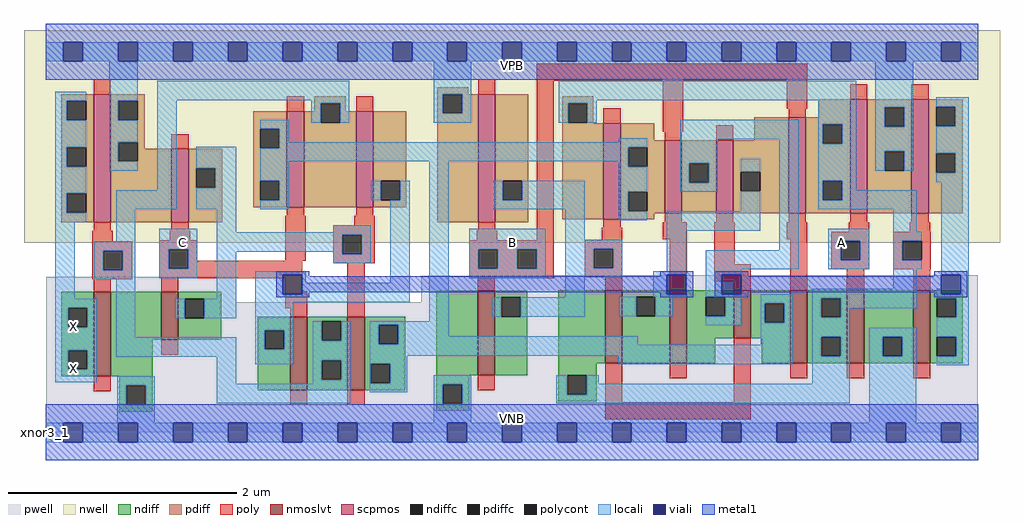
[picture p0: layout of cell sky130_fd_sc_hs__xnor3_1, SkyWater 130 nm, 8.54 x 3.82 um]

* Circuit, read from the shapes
.subckt sky130_fd_sc_hs__xnor3_1 A B C VGND VNB VPB VPWR X
XM1 VGND n1 X VNB sky130_fd_pr__nfet_01v8_lvt w=0.74 l=0.15
XM2 n2 C VGND VNB sky130_fd_pr__nfet_01v8_lvt w=0.42 l=0.15
XM3 n1 C n3 VNB sky130_fd_pr__nfet_01v8_lvt w=0.64 l=0.15
XM4 n4 n2 n1 VNB sky130_fd_pr__nfet_01v8_lvt w=0.64 l=0.15
XM5 n5 B VGND VNB sky130_fd_pr__nfet_01v8_lvt w=0.74 l=0.15
XM6 n3 n5 n6 VNB sky130_fd_pr__nfet_01v8_lvt w=0.64 l=0.15
XM7 n7 B n3 VNB sky130_fd_pr__nfet_01v8_lvt w=0.64 l=0.15
XM8 n4 n5 n7 VNB sky130_fd_pr__nfet_01v8_lvt w=0.42 l=0.15
XM9 n6 B n4 VNB sky130_fd_pr__nfet_01v8_lvt w=0.64 l=0.15
XM10 VGND A n6 VNB sky130_fd_pr__nfet_01v8_lvt w=0.64 l=0.15
XM11 n7 n6 VGND VNB sky130_fd_pr__nfet_01v8_lvt w=0.64 l=0.15
XM12 VPWR n1 X VPB sky130_fd_pr__pfet_01v8 w=1.12 l=0.15
XM13 n2 C VPWR VPB sky130_fd_pr__pfet_01v8 w=0.64 l=0.15
XM14 n1 C n4 VPB sky130_fd_pr__pfet_01v8 w=0.84 l=0.15
XM15 n3 n2 n1 VPB sky130_fd_pr__pfet_01v8 w=0.84 l=0.15
XM16 n5 B VPWR VPB sky130_fd_pr__pfet_01v8 w=1.12 l=0.15
XM17 n4 n5 n6 VPB sky130_fd_pr__pfet_01v8 w=0.84 l=0.15
XM18 n7 B n4 VPB sky130_fd_pr__pfet_01v8 w=0.64 l=0.15
XM19 n3 n5 n7 VPB sky130_fd_pr__pfet_01v8 w=0.64 l=0.15
XM20 n6 B n3 VPB sky130_fd_pr__pfet_01v8 w=0.84 l=0.15
XM21 VPWR A n6 VPB sky130_fd_pr__pfet_01v8 w=1 l=0.15
XM22 n7 n6 VPWR VPB sky130_fd_pr__pfet_01v8 w=1 l=0.15
.ends

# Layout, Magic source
magic
tech sky130A
magscale 1 2
<< nwell >>
rect -38 332 1670 704
<< pwell >>
rect 871 274 1631 275
rect 1 228 333 272
rect 657 228 1631 274
rect 1 49 1631 228
rect 0 0 1632 49
<< scpmos >>
rect 84 368 114 592
rect 220 368 250 496
rect 422 394 452 562
rect 543 394 573 562
rect 757 368 787 592
rect 976 373 1006 541
rect 1083 383 1113 511
rect 1173 383 1203 511
rect 1300 383 1330 551
rect 1408 383 1438 583
rect 1515 383 1545 583
<< nmoslvt >>
rect 84 98 114 246
rect 202 162 232 246
rect 428 74 458 202
rect 528 74 558 202
rect 756 100 786 248
rect 979 121 1009 249
rect 1092 121 1122 249
rect 1204 165 1234 249
rect 1303 121 1333 249
rect 1402 121 1432 249
rect 1518 121 1548 249
<< ndiff >>
rect 27 218 84 246
rect 27 184 39 218
rect 73 184 84 218
rect 27 144 84 184
rect 27 110 39 144
rect 73 110 84 144
rect 27 98 84 110
rect 114 162 202 246
rect 232 234 307 246
rect 232 200 243 234
rect 277 200 307 234
rect 232 162 307 200
rect 371 179 428 202
rect 114 98 187 162
rect 371 145 383 179
rect 417 145 428 179
rect 129 82 187 98
rect 129 48 141 82
rect 175 48 187 82
rect 371 74 428 145
rect 458 194 528 202
rect 458 160 483 194
rect 517 160 528 194
rect 458 126 528 160
rect 458 92 483 126
rect 517 92 528 126
rect 458 74 528 92
rect 558 188 629 202
rect 558 154 583 188
rect 617 154 629 188
rect 558 120 629 154
rect 558 86 569 120
rect 603 86 629 120
rect 558 74 629 86
rect 683 100 756 248
rect 786 236 843 248
rect 786 202 797 236
rect 831 202 843 236
rect 786 100 843 202
rect 897 121 979 249
rect 1009 237 1092 249
rect 1009 203 1033 237
rect 1067 203 1092 237
rect 1009 121 1092 203
rect 1122 237 1204 249
rect 1122 203 1155 237
rect 1189 203 1204 237
rect 1122 165 1204 203
rect 1234 226 1303 249
rect 1234 192 1258 226
rect 1292 192 1303 226
rect 1234 165 1303 192
rect 1122 121 1172 165
rect 897 100 964 121
rect 683 84 741 100
rect 683 50 695 84
rect 729 50 741 84
rect 897 66 913 100
rect 947 66 964 100
rect 897 54 964 66
rect 129 36 187 48
rect 683 38 741 50
rect 1253 121 1303 165
rect 1333 235 1402 249
rect 1333 201 1357 235
rect 1391 201 1402 235
rect 1333 167 1402 201
rect 1333 133 1357 167
rect 1391 133 1402 167
rect 1333 121 1402 133
rect 1432 167 1518 249
rect 1432 133 1465 167
rect 1499 133 1518 167
rect 1432 121 1518 133
rect 1548 235 1605 249
rect 1548 201 1559 235
rect 1593 201 1605 235
rect 1548 167 1605 201
rect 1548 133 1559 167
rect 1593 133 1605 167
rect 1548 121 1605 133
<< pdiff >>
rect 685 592 739 604
rect 27 580 84 592
rect 27 546 37 580
rect 71 546 84 580
rect 27 499 84 546
rect 27 465 37 499
rect 71 465 84 499
rect 27 418 84 465
rect 27 384 37 418
rect 71 384 84 418
rect 27 368 84 384
rect 114 580 173 592
rect 114 546 127 580
rect 161 546 173 580
rect 470 576 525 588
rect 470 562 481 576
rect 114 508 173 546
rect 363 531 422 562
rect 114 474 127 508
rect 161 496 173 508
rect 363 497 375 531
rect 409 497 422 531
rect 161 474 220 496
rect 114 368 220 474
rect 250 462 309 496
rect 250 428 263 462
rect 297 428 309 462
rect 250 368 309 428
rect 363 440 422 497
rect 363 406 375 440
rect 409 406 422 440
rect 363 394 422 406
rect 452 542 481 562
rect 515 562 525 576
rect 515 542 543 562
rect 452 394 543 542
rect 573 440 631 562
rect 573 406 586 440
rect 620 406 631 440
rect 573 394 631 406
rect 685 558 695 592
rect 729 558 757 592
rect 685 368 757 558
rect 787 440 844 592
rect 787 406 800 440
rect 834 406 844 440
rect 787 368 844 406
rect 904 576 958 588
rect 904 542 914 576
rect 948 542 958 576
rect 904 541 958 542
rect 904 373 976 541
rect 1006 511 1065 541
rect 1353 551 1408 583
rect 1240 511 1300 551
rect 1006 499 1083 511
rect 1006 465 1019 499
rect 1053 465 1083 499
rect 1006 421 1083 465
rect 1006 387 1019 421
rect 1053 387 1083 421
rect 1006 383 1083 387
rect 1113 471 1173 511
rect 1113 437 1126 471
rect 1160 437 1173 471
rect 1113 383 1173 437
rect 1203 456 1300 511
rect 1203 422 1216 456
rect 1250 422 1300 456
rect 1203 383 1300 422
rect 1330 539 1408 551
rect 1330 505 1360 539
rect 1394 505 1408 539
rect 1330 440 1408 505
rect 1330 406 1360 440
rect 1394 406 1408 440
rect 1330 383 1408 406
rect 1438 569 1515 583
rect 1438 535 1468 569
rect 1502 535 1515 569
rect 1438 492 1515 535
rect 1438 458 1468 492
rect 1502 458 1515 492
rect 1438 383 1515 458
rect 1545 570 1605 583
rect 1545 536 1558 570
rect 1592 536 1605 570
rect 1545 488 1605 536
rect 1545 454 1558 488
rect 1592 454 1605 488
rect 1545 383 1605 454
rect 1006 373 1065 383
<< ndiffc >>
rect 39 184 73 218
rect 39 110 73 144
rect 243 200 277 234
rect 383 145 417 179
rect 141 48 175 82
rect 483 160 517 194
rect 483 92 517 126
rect 583 154 617 188
rect 569 86 603 120
rect 797 202 831 236
rect 1033 203 1067 237
rect 1155 203 1189 237
rect 1258 192 1292 226
rect 695 50 729 84
rect 913 66 947 100
rect 1357 201 1391 235
rect 1357 133 1391 167
rect 1465 133 1499 167
rect 1559 201 1593 235
rect 1559 133 1593 167
<< pdiffc >>
rect 37 546 71 580
rect 37 465 71 499
rect 37 384 71 418
rect 127 546 161 580
rect 127 474 161 508
rect 375 497 409 531
rect 263 428 297 462
rect 375 406 409 440
rect 481 542 515 576
rect 586 406 620 440
rect 695 558 729 592
rect 800 406 834 440
rect 914 542 948 576
rect 1019 465 1053 499
rect 1019 387 1053 421
rect 1126 437 1160 471
rect 1216 422 1250 456
rect 1360 505 1394 539
rect 1360 406 1394 440
rect 1468 535 1502 569
rect 1468 458 1502 492
rect 1558 536 1592 570
rect 1558 454 1592 488
<< poly >>
rect 84 592 114 618
rect 757 592 787 618
rect 859 615 1333 645
rect 422 562 452 588
rect 220 496 250 522
rect 543 562 573 588
rect 422 379 452 394
rect 543 379 573 394
rect 84 353 114 368
rect 220 353 250 368
rect 81 334 117 353
rect 217 336 253 353
rect 81 318 151 334
rect 81 284 101 318
rect 135 284 151 318
rect 81 268 151 284
rect 199 320 265 336
rect 199 286 215 320
rect 249 300 265 320
rect 419 300 455 379
rect 540 362 576 379
rect 503 346 576 362
rect 757 353 787 368
rect 503 312 519 346
rect 553 312 576 346
rect 754 336 790 353
rect 859 336 889 615
rect 976 541 1006 567
rect 1080 526 1116 615
rect 1297 566 1333 615
rect 1408 583 1438 609
rect 1515 583 1545 609
rect 1300 551 1330 566
rect 1083 511 1113 526
rect 1173 511 1203 537
rect 976 358 1006 373
rect 1083 368 1113 383
rect 1173 368 1203 383
rect 1300 368 1330 383
rect 1408 368 1438 383
rect 1515 368 1545 383
rect 973 337 1009 358
rect 1080 338 1122 368
rect 249 286 449 300
rect 503 296 576 312
rect 741 320 889 336
rect 199 270 449 286
rect 84 246 114 268
rect 202 246 232 270
rect 419 247 449 270
rect 419 217 458 247
rect 428 202 458 217
rect 528 202 558 296
rect 741 286 757 320
rect 791 286 825 320
rect 859 286 889 320
rect 741 270 889 286
rect 943 321 1009 337
rect 943 287 959 321
rect 993 287 1009 321
rect 943 271 1009 287
rect 756 248 786 270
rect 979 249 1009 271
rect 1092 249 1122 338
rect 1170 294 1206 368
rect 1297 338 1333 368
rect 1405 351 1441 368
rect 1512 351 1548 368
rect 1170 264 1234 294
rect 1204 249 1234 264
rect 1303 249 1333 338
rect 1375 335 1441 351
rect 1375 301 1391 335
rect 1425 301 1441 335
rect 1375 285 1441 301
rect 1483 335 1549 351
rect 1483 301 1499 335
rect 1533 301 1549 335
rect 1483 285 1549 301
rect 1402 249 1432 285
rect 1518 249 1548 285
rect 202 136 232 162
rect 84 72 114 98
rect 428 48 458 74
rect 528 48 558 74
rect 756 74 786 100
rect 979 53 1009 121
rect 1092 95 1122 121
rect 1204 53 1234 165
rect 1303 95 1333 121
rect 1402 95 1432 121
rect 1518 95 1548 121
rect 979 23 1234 53
<< polycont >>
rect 101 284 135 318
rect 215 286 249 320
rect 519 312 553 346
rect 757 286 791 320
rect 825 286 859 320
rect 959 287 993 321
rect 1391 301 1425 335
rect 1499 301 1533 335
<< locali >>
rect 0 649 31 683
rect 65 649 127 683
rect 161 649 223 683
rect 257 649 319 683
rect 353 649 415 683
rect 449 649 511 683
rect 545 649 607 683
rect 641 649 703 683
rect 737 649 799 683
rect 833 649 895 683
rect 929 649 991 683
rect 1025 649 1087 683
rect 1121 649 1183 683
rect 1217 649 1279 683
rect 1313 649 1375 683
rect 1409 649 1471 683
rect 1505 649 1567 683
rect 1601 649 1632 683
rect 17 580 71 596
rect 17 546 37 580
rect 17 499 71 546
rect 17 465 37 499
rect 17 418 71 465
rect 111 580 161 649
rect 111 546 127 580
rect 111 508 161 546
rect 111 474 127 508
rect 111 458 161 474
rect 195 581 531 615
rect 195 424 229 581
rect 465 576 531 581
rect 375 531 425 547
rect 465 542 481 576
rect 515 542 531 576
rect 679 592 745 649
rect 679 558 695 592
rect 729 558 745 592
rect 679 542 745 558
rect 898 581 1418 615
rect 898 576 964 581
rect 898 542 914 576
rect 948 542 964 576
rect 17 384 37 418
rect 17 368 71 384
rect 123 390 229 424
rect 263 462 333 500
rect 297 428 333 462
rect 263 390 333 428
rect 409 508 425 531
rect 1003 508 1053 515
rect 409 499 1053 508
rect 409 497 1019 499
rect 375 474 1019 497
rect 375 440 425 474
rect 409 406 425 440
rect 570 406 586 440
rect 620 406 637 440
rect 375 390 425 406
rect 17 234 51 368
rect 123 334 157 390
rect 85 318 157 334
rect 85 284 101 318
rect 135 284 157 318
rect 85 268 157 284
rect 199 320 265 356
rect 199 286 215 320
rect 249 286 265 320
rect 199 270 265 286
rect 299 350 333 390
rect 503 350 569 362
rect 299 346 569 350
rect 299 316 519 346
rect 17 218 89 234
rect 17 184 39 218
rect 73 184 89 218
rect 17 144 89 184
rect 17 110 39 144
rect 73 110 89 144
rect 123 166 157 268
rect 299 234 333 316
rect 503 312 519 316
rect 553 312 569 346
rect 503 296 569 312
rect 227 200 243 234
rect 277 200 333 234
rect 367 276 455 282
rect 367 242 415 276
rect 449 262 455 276
rect 603 262 637 406
rect 449 242 637 262
rect 367 228 637 242
rect 367 179 433 228
rect 671 194 705 474
rect 1003 465 1019 474
rect 784 406 800 440
rect 834 406 943 440
rect 784 390 943 406
rect 741 320 875 356
rect 741 286 757 320
rect 791 286 825 320
rect 859 286 875 320
rect 741 270 875 286
rect 909 337 943 390
rect 1003 421 1053 465
rect 1110 513 1318 547
rect 1110 471 1176 513
rect 1110 437 1126 471
rect 1160 437 1176 471
rect 1110 421 1176 437
rect 1216 456 1250 479
rect 1003 387 1019 421
rect 1216 387 1250 422
rect 1003 371 1053 387
rect 1087 353 1250 387
rect 909 321 1009 337
rect 909 287 959 321
rect 993 287 1009 321
rect 909 271 1009 287
rect 1087 282 1121 353
rect 1284 319 1318 513
rect 1352 539 1418 581
rect 1352 505 1360 539
rect 1394 505 1418 539
rect 1352 440 1418 505
rect 1452 569 1518 649
rect 1452 535 1468 569
rect 1502 535 1518 569
rect 1452 492 1518 535
rect 1452 458 1468 492
rect 1502 458 1518 492
rect 1558 570 1615 586
rect 1592 536 1615 570
rect 1558 488 1615 536
rect 1352 406 1360 440
rect 1394 424 1418 440
rect 1592 454 1615 488
rect 1558 438 1615 454
rect 1394 406 1524 424
rect 1352 390 1524 406
rect 1063 276 1121 282
rect 909 236 943 271
rect 1063 242 1087 276
rect 1063 237 1121 242
rect 781 202 797 236
rect 831 202 943 236
rect 1004 203 1033 237
rect 1067 236 1121 237
rect 1155 285 1318 319
rect 1369 335 1441 356
rect 1369 301 1391 335
rect 1425 301 1441 335
rect 1369 285 1441 301
rect 1483 351 1524 390
rect 1483 335 1533 351
rect 1483 301 1499 335
rect 1483 285 1533 301
rect 1155 276 1217 285
rect 1155 242 1183 276
rect 1483 251 1524 285
rect 1567 276 1615 438
rect 1155 237 1217 242
rect 1067 203 1097 236
rect 1189 203 1217 237
rect 123 132 333 166
rect 17 88 89 110
rect 125 82 191 98
rect 125 48 141 82
rect 175 48 191 82
rect 299 85 333 132
rect 367 145 383 179
rect 417 145 433 179
rect 367 119 433 145
rect 467 160 483 194
rect 517 160 533 194
rect 467 126 533 160
rect 467 92 483 126
rect 517 92 533 126
rect 467 85 533 92
rect 299 51 533 85
rect 567 188 705 194
rect 567 154 583 188
rect 617 168 705 188
rect 1155 187 1217 203
rect 1251 226 1307 242
rect 1251 192 1258 226
rect 1292 192 1307 226
rect 617 154 1036 168
rect 567 153 1036 154
rect 1251 153 1307 192
rect 567 134 1307 153
rect 567 120 633 134
rect 567 86 569 120
rect 603 86 633 120
rect 1002 119 1307 134
rect 1341 235 1524 251
rect 1341 201 1357 235
rect 1391 217 1524 235
rect 1559 242 1567 251
rect 1601 242 1615 276
rect 1559 235 1615 242
rect 1391 201 1407 217
rect 1341 167 1407 201
rect 1593 201 1615 235
rect 1341 133 1357 167
rect 1391 133 1407 167
rect 567 70 633 86
rect 679 84 745 100
rect 125 17 191 48
rect 679 50 695 84
rect 729 50 745 84
rect 893 66 913 100
rect 947 85 968 100
rect 1341 85 1407 133
rect 947 66 1407 85
rect 893 51 1407 66
rect 1441 167 1523 183
rect 1441 133 1465 167
rect 1499 133 1523 167
rect 679 17 745 50
rect 1441 17 1523 133
rect 1559 167 1615 201
rect 1593 133 1615 167
rect 1559 117 1615 133
rect 0 -17 31 17
rect 65 -17 127 17
rect 161 -17 223 17
rect 257 -17 319 17
rect 353 -17 415 17
rect 449 -17 511 17
rect 545 -17 607 17
rect 641 -17 703 17
rect 737 -17 799 17
rect 833 -17 895 17
rect 929 -17 991 17
rect 1025 -17 1087 17
rect 1121 -17 1183 17
rect 1217 -17 1279 17
rect 1313 -17 1375 17
rect 1409 -17 1471 17
rect 1505 -17 1567 17
rect 1601 -17 1632 17
<< viali >>
rect 31 649 65 683
rect 127 649 161 683
rect 223 649 257 683
rect 319 649 353 683
rect 415 649 449 683
rect 511 649 545 683
rect 607 649 641 683
rect 703 649 737 683
rect 799 649 833 683
rect 895 649 929 683
rect 991 649 1025 683
rect 1087 649 1121 683
rect 1183 649 1217 683
rect 1279 649 1313 683
rect 1375 649 1409 683
rect 1471 649 1505 683
rect 1567 649 1601 683
rect 415 242 449 276
rect 1087 242 1121 276
rect 1183 242 1217 276
rect 1567 242 1601 276
rect 31 -17 65 17
rect 127 -17 161 17
rect 223 -17 257 17
rect 319 -17 353 17
rect 415 -17 449 17
rect 511 -17 545 17
rect 607 -17 641 17
rect 703 -17 737 17
rect 799 -17 833 17
rect 895 -17 929 17
rect 991 -17 1025 17
rect 1087 -17 1121 17
rect 1183 -17 1217 17
rect 1279 -17 1313 17
rect 1375 -17 1409 17
rect 1471 -17 1505 17
rect 1567 -17 1601 17
<< metal1 >>
rect 0 683 1632 715
rect 0 649 31 683
rect 65 649 127 683
rect 161 649 223 683
rect 257 649 319 683
rect 353 649 415 683
rect 449 649 511 683
rect 545 649 607 683
rect 641 649 703 683
rect 737 649 799 683
rect 833 649 895 683
rect 929 649 991 683
rect 1025 649 1087 683
rect 1121 649 1183 683
rect 1217 649 1279 683
rect 1313 649 1375 683
rect 1409 649 1471 683
rect 1505 649 1567 683
rect 1601 649 1632 683
rect 0 617 1632 649
rect 403 276 461 282
rect 403 242 415 276
rect 449 273 461 276
rect 1075 276 1133 282
rect 1075 273 1087 276
rect 449 245 1087 273
rect 449 242 461 245
rect 403 236 461 242
rect 1075 242 1087 245
rect 1121 242 1133 276
rect 1075 236 1133 242
rect 1171 276 1229 282
rect 1171 242 1183 276
rect 1217 273 1229 276
rect 1555 276 1613 282
rect 1555 273 1567 276
rect 1217 245 1567 273
rect 1217 242 1229 245
rect 1171 236 1229 242
rect 1555 242 1567 245
rect 1601 242 1613 276
rect 1555 236 1613 242
rect 0 17 1632 49
rect 0 -17 31 17
rect 65 -17 127 17
rect 161 -17 223 17
rect 257 -17 319 17
rect 353 -17 415 17
rect 449 -17 511 17
rect 545 -17 607 17
rect 641 -17 703 17
rect 737 -17 799 17
rect 833 -17 895 17
rect 929 -17 991 17
rect 1025 -17 1087 17
rect 1121 -17 1183 17
rect 1217 -17 1279 17
rect 1313 -17 1375 17
rect 1409 -17 1471 17
rect 1505 -17 1567 17
rect 1601 -17 1632 17
rect 0 -49 1632 -17
<< labels >>
rlabel comment s 0 0 0 0 4 xnor3_1
flabel pwell s 0 0 1632 49 0 FreeSans 200 0 0 0 VNB
port 5 nsew ground bidirectional
flabel nwell s 0 617 1632 666 0 FreeSans 200 0 0 0 VPB
port 6 nsew power bidirectional
flabel metal1 s 0 617 1632 666 0 FreeSans 340 0 0 0 VPWR
port 7 nsew power bidirectional
flabel metal1 s 0 0 1632 49 0 FreeSans 340 0 0 0 VGND
port 4 nsew ground bidirectional
flabel locali s 31 94 65 128 0 FreeSans 340 0 0 0 X
port 8 nsew signal output
flabel locali s 31 168 65 202 0 FreeSans 340 0 0 0 X
port 8 nsew signal output
flabel locali s 799 316 833 350 0 FreeSans 340 0 0 0 B
port 2 nsew signal input
flabel locali s 223 316 257 350 0 FreeSans 340 0 0 0 C
port 3 nsew signal input
flabel locali s 1375 316 1409 350 0 FreeSans 340 0 0 0 A
port 1 nsew signal input
<< properties >>
string LEFsite unit
string LEFclass CORE
string FIXED_BBOX 0 0 1632 666
string GDS_FILE $PDKPATH/libs.ref/sky130_fd_sc_hs/gds/sky130_fd_sc_hs.gds
string LEFsymmetry X Y
string GDS_END 774468
string GDS_START 761920
<< end >>
